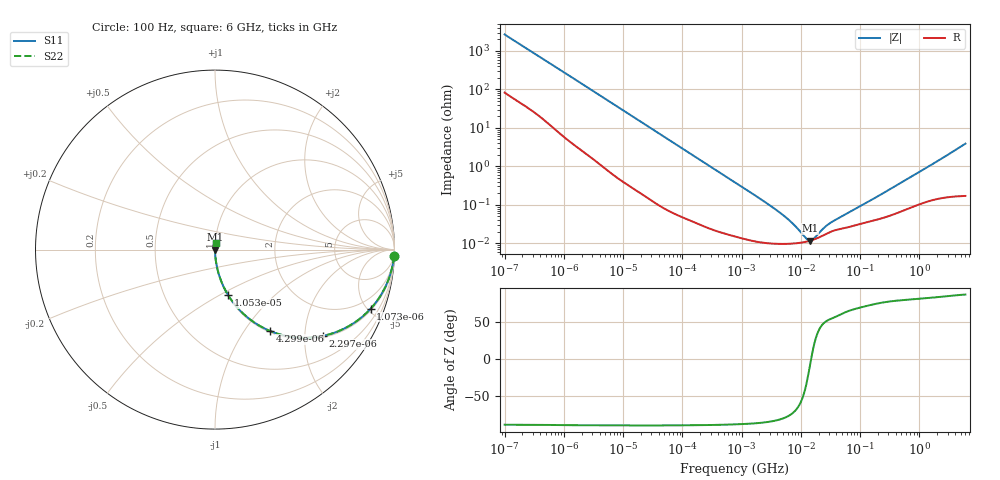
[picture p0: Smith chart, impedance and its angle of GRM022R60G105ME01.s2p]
!Murata Part Number: GRM022R60G105ME01
!These Parameters are Measured in Series Mode Connection
!Data Generated on Mar 30, 2021
!  o--ll--o
!Port1  Port2
!  o------o
!Operation Temp=25[degC], DC Bias Voltage=0[V]
!Freq. Start=100[Hz] Stop=6[GHz] 401[Steps]
# Hz S RI R 50
!Freq.(Hz) S11(Real) S11(Imag) S21(Real) S21(Imag) S12(Real) S12(Imag) S22(Real) S22(Imag)
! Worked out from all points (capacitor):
!   401 points, 100 Hz to 6 GHz, reference 50 ohm
!   read as one part in series: C = 589 nF near 109 Hz
!   lowest |Z| = 11.8 mohm at 14.22 MHz (marker M1)
!   series resonance near 14.89 MHz, so ESL is about 190 pH
!   S11 on the Smith chart (normalised r, x): 100 Hz: 3, -54; 1.073 kHz: 1.11, -5.23; 2.297 kHz: 1.04, -2.46; 4.299 kHz: 1.02, -1.33; 10.53 kHz: 1.01, -0.55; 6 GHz: 1.00, +0.08
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100  0.9975 -0.0371  0.00252 0.0371  0.00252 0.0371  0.9975 -0.0371
383  0.9775 -0.1349  0.0225 0.1349  0.0225 0.1349  0.9775 -0.1349
686  0.9384 -0.229  0.0616 0.229  0.0616 0.229  0.9384 -0.229
1073  0.8675 -0.3289  0.1325 0.3289  0.1325 0.3289  0.8675 -0.3289
2008  0.6617 -0.4641  0.3383 0.4641  0.3383 0.4641  0.6617 -0.4641
2297  0.6012 -0.4808  0.3988 0.4808  0.3988 0.4808  0.6012 -0.4808
4299  0.308 -0.4538  0.692 0.4538  0.692 0.4538  0.308 -0.4538
6728  0.1566 -0.3564  0.8434 0.3564  0.8434 0.3564  0.1566 -0.3564
10527  0.0722 -0.252  0.9278 0.252  0.9278 0.252  0.0722 -0.252
19704  0.0228 -0.1428  0.9772 0.1428  0.9772 0.1428  0.0228 -0.1428
40335  0.00609 -0.0714  0.9939 0.0714  0.9939 0.0714  0.00609 -0.0714
129199  0.000913 -0.0226  0.9991 0.0226  0.9991 0.0226  0.000913 -0.0226
774597  0.000165 -0.00383  0.9998 0.00383  0.9998 0.00383  0.000165 -0.00383
4643984  9.67e-05 -0.000586  0.9999 0.000586  0.9999 0.000586  9.67e-05 -0.000586
7599586  9.89e-05 -0.000292  0.9999 0.000292  0.9999 0.000292  9.89e-05 -0.000292
1.243624e7  0.00011 -7.2e-05  0.9999 7.2e-05  0.9999 7.2e-05  0.00011 -7.2e-05
1.422411e7  0.000116 -1.82e-05  0.9999 1.82e-05  0.9999 1.82e-05  0.000116 -1.82e-05
1.555665e7  0.000121 1.7e-05  0.9999 -1.7e-05  0.9999 -1.7e-05  0.000121 1.7e-05
2.434276e7  0.000163 0.000186  0.9998 -0.000186  0.9998 -0.000186  0.000163 0.000186
3.184506e7  0.000199 0.000279  0.9998 -0.000279  0.9998 -0.000279  0.000199 0.000279
3.124326e8  0.000521 0.00244  0.9995 -0.00244  0.9995 -0.00244  0.000521 0.00244
6e9  0.0032 0.0387  0.9968 -0.0387  0.9968 -0.0387  0.0032 0.0387
